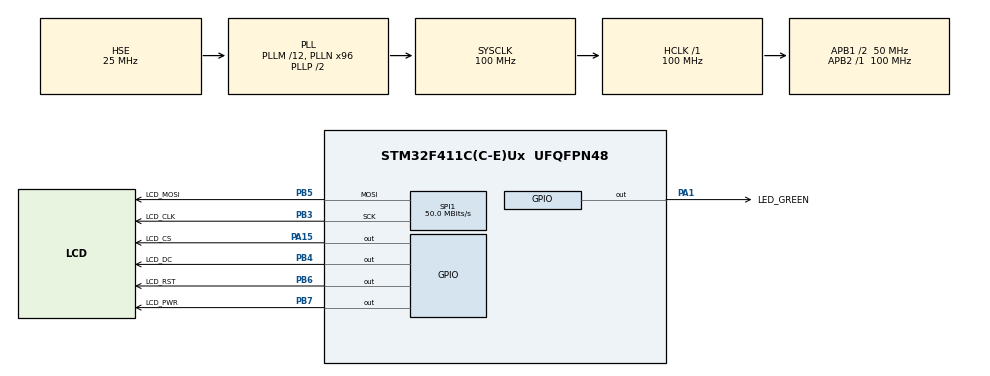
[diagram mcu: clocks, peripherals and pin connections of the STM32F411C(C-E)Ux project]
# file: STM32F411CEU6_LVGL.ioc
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Dma.Request0=SPI1_TX
Dma.SPI1_TX.0.Direction=DMA_MEMORY_TO_PERIPH
Dma.SPI1_TX.0.FIFOMode=DMA_FIFOMODE_DISABLE
Dma.SPI1_TX.0.Instance=DMA2_Stream2
Dma.SPI1_TX.0.MemDataAlignment=DMA_MDATAALIGN_HALFWORD
Dma.SPI1_TX.0.MemInc=DMA_MINC_ENABLE
Dma.SPI1_TX.0.Mode=DMA_NORMAL
Dma.SPI1_TX.0.PeriphDataAlignment=DMA_PDATAALIGN_HALFWORD
Dma.SPI1_TX.0.PeriphInc=DMA_PINC_DISABLE
Dma.SPI1_TX.0.Priority=DMA_PRIORITY_LOW
Mcu.Family=STM32F4
Mcu.Name=STM32F411C(C-E)Ux
Mcu.Package=UFQFPN48
NVIC.DMA2_Stream2_IRQn=true\:0\:0\:false\:false\:true\:false\:true\:true
NVIC.PriorityGroup=NVIC_PRIORITYGROUP_4
NVIC.TIM2_IRQn=true\:0\:0\:false\:false\:true\:true\:true\:true
PA1.GPIO_Label=LED_GREEN
PA1.GPIO_Speed=GPIO_SPEED_FREQ_MEDIUM
PA1.Signal=GPIO_Output
PA13.Mode=Serial_Wire
PA13.Signal=SYS_JTMS-SWDIO
PA14.Mode=Serial_Wire
PA14.Signal=SYS_JTCK-SWCLK
PA15.GPIO_Label=LCD_CS
PA15.GPIO_Speed=GPIO_SPEED_FREQ_VERY_HIGH
PA15.PinState=GPIO_PIN_RESET
PA15.Signal=GPIO_Output
PB3.GPIO_Label=LCD_CLK
PB3.Mode=TX_Only_Simplex_Unidirect_Master
PB3.Signal=SPI1_SCK
PB4.GPIO_Label=LCD_DC
PB4.GPIO_Speed=GPIO_SPEED_FREQ_VERY_HIGH
PB4.Signal=GPIO_Output
PB5.GPIO_Label=LCD_MOSI
PB5.Mode=TX_Only_Simplex_Unidirect_Master
PB5.Signal=SPI1_MOSI
PB6.GPIO_Label=LCD_RST
PB6.GPIO_Speed=GPIO_SPEED_FREQ_VERY_HIGH
PB6.Signal=GPIO_Output
PB7.GPIO_Label=LCD_PWR
PB7.GPIO_Speed=GPIO_SPEED_FREQ_VERY_HIGH
PB7.Signal=GPIO_Output
PH0\ -\ OSC_IN.Mode=HSE-External-Oscillator
PH0\ -\ OSC_IN.Signal=RCC_OSC_IN
PH1\ -\ OSC_OUT.Mode=HSE-External-Oscillator
PH1\ -\ OSC_OUT.Signal=RCC_OSC_OUT
ProjectManager.HeapSize=0x1000
ProjectManager.StackSize=0x3000
ProjectManager.TargetToolchain=MDK-ARM V5
RCC.48MHZClocksFreq_Value=50000000
RCC.AHBFreq_Value=100000000
RCC.APB1CLKDivider=RCC_HCLK_DIV2
RCC.APB1Freq_Value=50000000
RCC.APB1TimFreq_Value=100000000
RCC.APB2Freq_Value=100000000
RCC.APB2TimFreq_Value=100000000
RCC.CortexFreq_Value=100000000
RCC.HCLKFreq_Value=100000000
RCC.HSE_VALUE=25000000
RCC.HSI_VALUE=16000000
RCC.LSE_VALUE=32768
RCC.PLLM=12
RCC.PLLN=96
RCC.PLLSourceVirtual=RCC_PLLSOURCE_HSE
RCC.SYSCLKFreq_VALUE=100000000
RCC.SYSCLKSource=RCC_SYSCLKSOURCE_PLLCLK
RCC.VCOOutputFreq_Value=200000000
SPI1.BaudRatePrescaler=SPI_BAUDRATEPRESCALER_2
SPI1.CLKPhase=SPI_PHASE_2EDGE
SPI1.CLKPolarity=SPI_POLARITY_HIGH
SPI1.CalculateBaudRate=50.0 MBits/s
SPI1.Direction=SPI_DIRECTION_2LINES
SPI1.Mode=SPI_MODE_MASTER
SPI1.VirtualType=VM_MASTER
TIM2.Period=1000-1
TIM2.Prescaler=100-1
VP_TIM2_VS_ClockSourceINT.Mode=Internal
board=custom

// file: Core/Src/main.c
/* USER CODE BEGIN Header */
/**
  ******************************************************************************
  * @file           : main.c
  * @brief          : Main program body
  ******************************************************************************
  * @attention
  *
  * Copyright (c) 2024 STMicroelectronics.
  * All rights reserved.
  *
  * This software is licensed under terms that can be found in the LICENSE file
  * in the root directory of this software component.
  * If no LICENSE file comes with this software, it is provided AS-IS.
  *
  ******************************************************************************
  */
/* USER CODE END Header */
#include "main.h"
#include "dma.h"
#include "spi.h"
#include "tim.h"
#include "gpio.h"

/* USER CODE BEGIN Includes */
#include "stdio.h"
#include "tftlcd.h"
#include "font.h"
#include "gui_2d_lib.h"
#include "gui_text_lib.h"
#include "gui_widget_text.h"
#include "gui_widget_progbar.h"
#include "lvgl.h"
#include "lv_port_disp_template.h"

/* USER CODE END Includes */

/* USER CODE BEGIN PTD */
void botton_demo(void);
void led_demo(void);
static void anim_bar_cb(void *var, int32_t v);
void anim_demo(void);

/* USER CODE END PTD */

void SystemClock_Config(void);

int main(void)
{

  /* MCU Configuration--------------------------------------------------------*/

  /* Reset of all peripherals, Initializes the Flash interface and the Systick. */
  HAL_Init();

  /* Configure the system clock */
  SystemClock_Config();

  /* Initialize all configured peripherals */
  MX_GPIO_Init();
  MX_DMA_Init();
  MX_SPI1_Init();
  MX_TIM2_Init();
  /* USER CODE BEGIN 2 */

  LED_G(1);
  lv_init();
  HAL_TIM_Base_Start_IT(&htim2);
  lv_port_disp_init();
  led_demo();

  /* USER CODE END 2 */

  /* Infinite loop */
  /* USER CODE BEGIN WHILE */
  while (1)
  {

    lv_task_handler();
    HAL_Delay(1);

    /* USER CODE END WHILE */

  }
}

void SystemClock_Config(void)
{
  RCC_OscInitTypeDef RCC_OscInitStruct = {0};
  RCC_ClkInitTypeDef RCC_ClkInitStruct = {0};

  /** Configure the main internal regulator output voltage
  */
  __HAL_RCC_PWR_CLK_ENABLE();
  __HAL_PWR_VOLTAGESCALING_CONFIG(PWR_REGULATOR_VOLTAGE_SCALE1);

  /** Initializes the RCC Oscillators according to the specified parameters
  * in the RCC_OscInitTypeDef structure.
  */
  RCC_OscInitStruct.OscillatorType = RCC_OSCILLATORTYPE_HSE;
  RCC_OscInitStruct.HSEState = RCC_HSE_ON;
  RCC_OscInitStruct.PLL.PLLState = RCC_PLL_ON;
  RCC_OscInitStruct.PLL.PLLSource = RCC_PLLSOURCE_HSE;
  RCC_OscInitStruct.PLL.PLLM = 12;
  RCC_OscInitStruct.PLL.PLLN = 96;
  RCC_OscInitStruct.PLL.PLLP = RCC_PLLP_DIV2;
  RCC_OscInitStruct.PLL.PLLQ = 4;
  if (HAL_RCC_OscConfig(&RCC_OscInitStruct) != HAL_OK)
  {
    Error_Handler();
  }

  /** Initializes the CPU, AHB and APB buses clocks
  */
  RCC_ClkInitStruct.ClockType = RCC_CLOCKTYPE_HCLK|RCC_CLOCKTYPE_SYSCLK
                              |RCC_CLOCKTYPE_PCLK1|RCC_CLOCKTYPE_PCLK2;
  RCC_ClkInitStruct.SYSCLKSource = RCC_SYSCLKSOURCE_PLLCLK;
  RCC_ClkInitStruct.AHBCLKDivider = RCC_SYSCLK_DIV1;
  RCC_ClkInitStruct.APB1CLKDivider = RCC_HCLK_DIV2;
  RCC_ClkInitStruct.APB2CLKDivider = RCC_HCLK_DIV1;

  if (HAL_RCC_ClockConfig(&RCC_ClkInitStruct, FLASH_LATENCY_3) != HAL_OK)
  {
    Error_Handler();
  }
}

/* USER CODE BEGIN 4 */
void botton_demo(void){
    lv_obj_t* btn = lv_btn_create(lv_scr_act());
    lv_obj_set_pos(btn, 20, 30);
    lv_obj_set_size(btn, 200, 75);
    lv_obj_t* label = lv_label_create(btn);
    lv_label_set_text(label, "Button");
    lv_obj_center(label);
}

void led_demo(void)
{
    lv_obj_t * led1  = lv_led_create(lv_scr_act());
    lv_obj_align(led1, LV_ALIGN_CENTER, -80, 0);
    lv_led_off(led1);

    /*Copy the previous LED and set a brightness*/
    lv_obj_t * led2  = lv_led_create(lv_scr_act());
    lv_obj_align(led2, LV_ALIGN_CENTER, 0, 0);
    lv_led_set_brightness(led2, 150);
    lv_led_set_color(led2, lv_palette_main(LV_PALETTE_RED));

    /*Copy the previous LED and switch it ON*/
    lv_obj_t * led3  = lv_led_create(lv_scr_act());
    lv_obj_align(led3, LV_ALIGN_CENTER, 80, 0);
    lv_led_on(led3);
}

// 动画回调函数，用于更新滑动条的 x 位置
static void anim_bar_cb(void *var, int32_t v)
{
    lv_obj_set_x((lv_obj_t *)var, v);
}

void anim_demo(void)
{
    // 创建一个滑动条对象
    lv_obj_t * bar = lv_bar_create(lv_scr_act());
    lv_obj_set_size(bar, 20, 100);
    lv_obj_align(bar, LV_ALIGN_CENTER, -240 / 2 + 20 / 2, 0); // 初始位置

    // 创建动画
    lv_anim_t anim;
    lv_anim_init(&anim);
    lv_anim_set_var(&anim, bar);
    lv_anim_set_values(&anim, -240 / 2 + 20 / 2, 240 / 2 - 20 / 2);
    lv_anim_set_time(&anim, 2000);
    lv_anim_set_exec_cb(&anim, anim_bar_cb); // 设置动画回调
    lv_anim_set_path_cb(&anim, lv_anim_path_ease_in_out); // 平滑的动画效果
    lv_anim_set_repeat_count(&anim, LV_ANIM_REPEAT_INFINITE); // 无限循环
    lv_anim_set_playback_time(&anim, 2000); // 回放动画
    lv_anim_start(&anim);
}
/* USER CODE END 4 */

void Error_Handler(void)
{
  __disable_irq();
  while (1)
  {
  }
}
